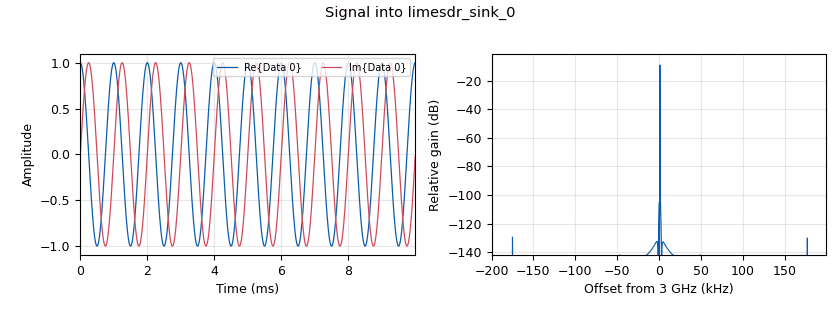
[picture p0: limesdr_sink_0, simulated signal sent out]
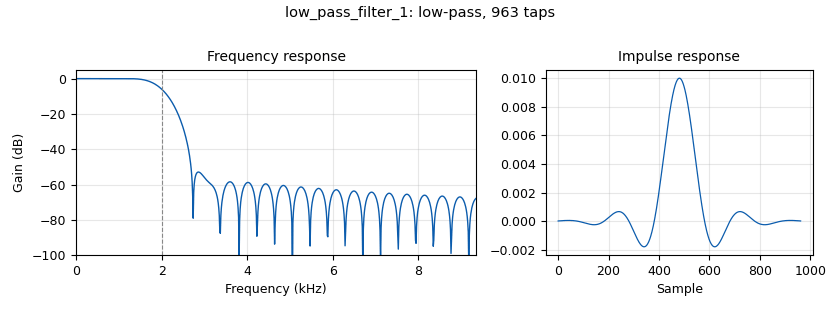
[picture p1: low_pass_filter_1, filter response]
options:
  parameters:
    author: rusty
    generate_options: qt_gui
    id: phaseShift
    output_language: python
    run_options: run
    title: Not titled yet
  states: {}

blocks:
- name: caldelay
  id: variable
  parameters:
    value: '0'
  states: {}
- name: freq
  id: variable
  parameters:
    value: 3e9
  states: {}
- name: freq
  id: variable_qtgui_range
  parameters:
    orient: Qt.Horizontal
    start: 3e9
    step: 0.5e6
    stop: 4.5e9
    value: 3.2e9
  states: {state: disabled}
- name: samp_rate
  id: variable
  parameters:
    value: 400e3
  states: {}
- name: analog_sig_source_x_0
  id: analog_sig_source_x
  parameters:
    amp: '1'
    freq: '1000'
    offset: '0'
    phase: '0'
    samp_rate: samp_rate
    type: complex
    waveform: analog.GR_COS_WAVE
  states: {}
- name: blocks_add_xx_0
  id: blocks_add_xx
  parameters:
    type: float
  states: {}
- name: blocks_complex_to_mag_squared_0
  id: blocks_complex_to_mag_squared
  parameters: {}
  states: {}
- name: blocks_complex_to_magphase_0
  id: blocks_complex_to_magphase
  parameters: {}
  states: {}
- name: blocks_complex_to_magphase_0_0
  id: blocks_complex_to_magphase
  parameters: {}
  states: {}
- name: blocks_delay_0
  id: blocks_delay
  parameters:
    delay: caldelay
    type: complex
  states: {}
- name: blocks_multiply_const_xx_0
  id: blocks_multiply_const_xx
  parameters:
    const: 180/3.14159
    type: float
  states: {}
- name: blocks_multiply_const_xx_0_0
  id: blocks_multiply_const_xx
  parameters:
    const: '-2*3.14159'
    type: float
  states: {}
- name: blocks_multiply_const_xx_0_0_0
  id: blocks_multiply_const_xx
  parameters:
    const: '1'
    type: complex
  states: {}
- name: blocks_multiply_const_xx_0_1
  id: blocks_multiply_const_xx
  parameters:
    const: 180/3.14159
    type: float
  states: {state: disabled}
- name: blocks_null_sink_0
  id: blocks_null_sink
  parameters:
    type: complex
  states: {state: disabled}
- name: blocks_null_sink_1
  id: blocks_null_sink
  parameters:
    type: float
  states: {}
- name: blocks_null_sink_1_0
  id: blocks_null_sink
  parameters:
    type: float
  states: {}
- name: blocks_probe_signal_x_0
  id: blocks_probe_signal_x
  parameters:
    type: float
  states: {}
- name: blocks_probe_signal_x_0_0
  id: blocks_probe_signal_x
  parameters:
    type: float
  states: {}
- name: blocks_sub_xx_0
  id: blocks_sub_xx
  parameters:
    type: float
  states: {}
- name: blocks_threshold_ff_0
  id: blocks_threshold_ff
  parameters:
    high: '0'
    init: '0'
    low: '0'
  states: {}
- name: limesdr_sink_0
  id: limesdr_sink
  parameters:
    allow_tcxo_dac: '0'
    channel_mode: '0'
    gain_dB_ch0: '30'
    oversample: '0'
    pa_path_ch0: '2'
    rf_freq: freq
    samp_rate: samp_rate
  states: {}
- name: limesdr_source_0
  id: limesdr_source
  parameters:
    allow_tcxo_dac: '0'
    ch_align: 'False'
    channel_mode: '0'
    gain_dB_ch0: '30'
    lna_path_ch0: '1'
    oversample: '0'
    rf_freq: freq
    samp_rate: samp_rate
  states: {}
- name: low_pass_filter_0
  id: low_pass_filter
  parameters:
    cutoff_freq: '1200'
    decim: '1'
    gain: '1'
    samp_rate: samp_rate
    type: fir_filter_ccf
    width: '200'
    win: firdes.WIN_HAMMING
  states: {state: disabled}
- name: low_pass_filter_1
  id: low_pass_filter
  parameters:
    cutoff_freq: '2000'
    decim: '1'
    gain: '1'
    samp_rate: samp_rate
    type: fir_filter_ccf
    width: '1000'
    win: firdes.WIN_HAMMING
  states: {}
- name: qtgui_freq_sink_x_0
  id: qtgui_freq_sink_x
  parameters:
    bw: samp_rate
    fc: freq
    fftsize: '1024'
    type: complex
    wintype: firdes.WIN_BLACKMAN_hARRIS
  states: {state: disabled}
- name: qtgui_freq_sink_x_0_0
  id: qtgui_freq_sink_x
  parameters:
    bw: samp_rate
    fc: freq
    fftsize: '1024'
    type: complex
    wintype: firdes.WIN_BLACKMAN_hARRIS
  states: {state: disabled}
- name: qtgui_time_sink_x_0
  id: qtgui_time_sink_x
  parameters:
    grid: 'True'
    size: 1024*10
    srate: samp_rate/10
    type: float
    ymax: '5'
    ymin: '-365'
  states: {}
- name: qtgui_time_sink_x_1
  id: qtgui_time_sink_x
  parameters:
    nconnections: '2'
    size: '1024'
    srate: samp_rate
    type: float
  states: {}
- name: qtgui_time_sink_x_1_0
  id: qtgui_time_sink_x
  parameters:
    nconnections: '2'
    size: '1024'
    srate: samp_rate
    type: float
  states: {}
- name: uhd_usrp_sink_0
  id: uhd_usrp_sink
  parameters:
    ant0: TX/RX
    center_freq0: freq
    dev_args: '""'
    gain0: '50'
    len_tag_name: ''
    norm_gain0: 'False'
    samp_rate: samp_rate
    sync: sync
    type: fc32
  states: {state: disabled}
- name: uhd_usrp_source_0
  id: uhd_usrp_source
  parameters:
    ant0: RX2
    ant1: RX2
    center_freq0: freq
    center_freq1: freq
    dc_offs_enb0: '""'
    dc_offs_enb1: '""'
    dev_args: '""'
    gain0: '5'
    gain1: '30'
    iq_imbal_enb0: '""'
    iq_imbal_enb1: '""'
    nchan: '2'
    norm_gain0: 'False'
    norm_gain1: 'False'
    rx_agc1: Disabled
    samp_rate: samp_rate
    sync: sync
    type: fc32
  states: {state: disabled}

connections:
- [analog_sig_source_x_0, '0', blocks_complex_to_magphase_0, '0']
- [analog_sig_source_x_0, '0', limesdr_sink_0, '0']
- [analog_sig_source_x_0, '0', uhd_usrp_sink_0, '0']
- [blocks_add_xx_0, '0', blocks_multiply_const_xx_0, '0']
- [blocks_complex_to_mag_squared_0, '0', blocks_probe_signal_x_0_0, '0']
- [blocks_complex_to_magphase_0, '0', blocks_null_sink_1_0, '0']
- [blocks_complex_to_magphase_0, '0', qtgui_time_sink_x_1, '0']
- [blocks_complex_to_magphase_0, '1', blocks_sub_xx_0, '0']
- [blocks_complex_to_magphase_0, '1', qtgui_time_sink_x_1_0, '0']
- [blocks_complex_to_magphase_0_0, '0', blocks_null_sink_1, '0']
- [blocks_complex_to_magphase_0_0, '0', qtgui_time_sink_x_1, '1']
- [blocks_complex_to_magphase_0_0, '1', blocks_sub_xx_0, '1']
- [blocks_complex_to_magphase_0_0, '1', qtgui_time_sink_x_1_0, '1']
- [blocks_delay_0, '0', low_pass_filter_1, '0']
- [blocks_multiply_const_xx_0, '0', blocks_probe_signal_x_0, '0']
- [blocks_multiply_const_xx_0, '0', qtgui_time_sink_x_0, '0']
- [blocks_multiply_const_xx_0_0, '0', blocks_add_xx_0, '1']
- [blocks_multiply_const_xx_0_0_0, '0', blocks_complex_to_magphase_0_0, '0']
- [blocks_multiply_const_xx_0_1, '0', blocks_probe_signal_x_0, '0']
- [blocks_sub_xx_0, '0', blocks_add_xx_0, '0']
- [blocks_sub_xx_0, '0', blocks_multiply_const_xx_0_1, '0']
- [blocks_sub_xx_0, '0', blocks_threshold_ff_0, '0']
- [blocks_threshold_ff_0, '0', blocks_multiply_const_xx_0_0, '0']
- [limesdr_source_0, '0', blocks_delay_0, '0']
- [low_pass_filter_0, '0', blocks_complex_to_mag_squared_0, '0']
- [low_pass_filter_0, '0', blocks_complex_to_magphase_0_0, '0']
- [low_pass_filter_0, '0', qtgui_freq_sink_x_0, '0']
- [low_pass_filter_1, '0', blocks_complex_to_mag_squared_0, '0']
- [low_pass_filter_1, '0', blocks_multiply_const_xx_0_0_0, '0']
- [low_pass_filter_1, '0', qtgui_freq_sink_x_0_0, '0']
- [uhd_usrp_source_0, '0', blocks_delay_0, '0']
- [uhd_usrp_source_0, '1', blocks_null_sink_0, '0']
- [uhd_usrp_source_0, '1', low_pass_filter_0, '0']
- [uhd_usrp_source_0, '1', qtgui_freq_sink_x_0, '0']

metadata:
  file_format: 1
